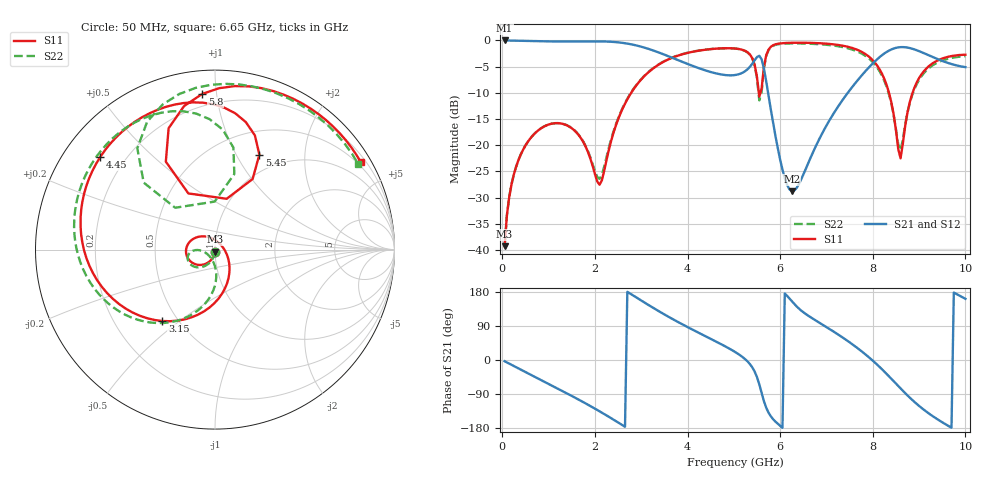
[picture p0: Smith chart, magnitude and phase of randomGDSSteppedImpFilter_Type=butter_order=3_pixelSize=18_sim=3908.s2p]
! freq	dB(S11)	phase(S11)	dB(S12)	phase(S12)
!  dB(S21)	phase(S21)	dB(S22)	phase(S22)
!S-par simulation data
#  GHz  S  DB  R 50
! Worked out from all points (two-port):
!   200 points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, 50 MHz to 10 GHz, reference 50 ohm
!   highest |S21| = -0.01 dB at 50 MHz (marker M1); lowest = -28.8 dB at 6.25 GHz (marker M2)
!   |S21| within 3 dB of the highest: start of sweep to 3.583 GHz; 8.173 GHz to 9.252 GHz (1.079 GHz wide, 12.4 % of centre) (the widest 2 of 3)
!   lowest |S11| = -39.3 dB at 50 MHz (marker M3), VSWR 1.02, Z = 49.9 - j1.08 ohm
!   |S11| at or under -10 dB: start of sweep to 2.784 GHz; 5.54 GHz to 5.574 GHz (33.94 MHz wide, 0.611 % of centre); 8.35 GHz to 8.86 GHz (509.3 MHz wide, 5.92 % of centre)
!   |S22| runs from -39.3 to -0.6 dB; largest |S21 - S12| = 0
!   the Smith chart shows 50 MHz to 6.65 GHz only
!   S11 on the Smith chart (normalised r, x): 50 MHz: 1.00, -0.02; 3.15 GHz: 0.41, -0.44; 4.45 GHz: 0.11, +0.35; 5.45 GHz: 0.78, +1.25; 5.8 GHz: 0.13, +0.91; 6.65 GHz: 0.38, +3.59
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0.05  -39.29 -92.1  -0.01 -3.2  -0.01 -3.2  -39.26 -91.4
0.25  -25.58 -107.5  -0.04 -16.0  -0.04 -16.0  -25.56 -104.5
0.6  -18.77 -132.2  -0.11 -38.1  -0.11 -38.1  -18.76 -124.7
1.75  -19.42 136.5  -0.19 -111.2  -0.19 -111.2  -19.34 -178.5
2.1  -27.54 41.9  -0.18 -135.3  -0.18 -135.3  -26.44 -133.0
2.6  -12.98 -75.8  -0.47 -172.4  -0.47 -172.4  -12.85 -92.4
3.15  -6.13 -126.3  -1.60 145.6  -1.60 145.6  -6.07 -124.8
3.4  -4.49 -146.5  -2.37 127.3  -2.37 127.3  -4.44 -140.8
4.45  -1.71 141.0  -5.90 58.9  -5.90 58.9  -1.69 156.5
5.05  -1.57 102.0  -6.58 19.4  -6.58 19.4  -1.58 119.0
5.45  -4.67 65.0  -3.78 -30.7  -3.78 -30.7  -4.77 79.8
5.6  -9.21 115.4  -3.61 -87.1  -3.61 -87.1  -9.85 133.6
5.8  -1.21 94.7  -13.27 -148.9  -13.27 -148.9  -1.31 109.8
6.25  -0.45 55.8  -28.77 155.6  -28.77 155.6  -0.57 64.2
6.65  -0.47 30.8  -22.54 113.4  -22.54 113.4  -0.63 30.7
6.7  -0.48 27.8  -21.54 109.5  -21.54 109.5  -0.65 26.5
7.15  -0.75 0.3  -14.01 75.4  -14.01 75.4  -0.98 -13.8
7.65  -1.74 -33.3  -7.85 33.3  -7.85 33.3  -2.05 -63.3
8.35  -9.99 -89.9  -1.94 -43.1  -1.94 -43.1  -10.31 -138.9
8.6  -22.52 -33.9  -1.28 -75.1  -1.28 -75.1  -20.98 -92.9
9  -7.19 -2.2  -2.05 -121.2  -2.05 -121.2  -7.53 -71.7
10  -2.74 -67.4  -5.10 161.4  -5.10 161.4  -3.02 -148.4
